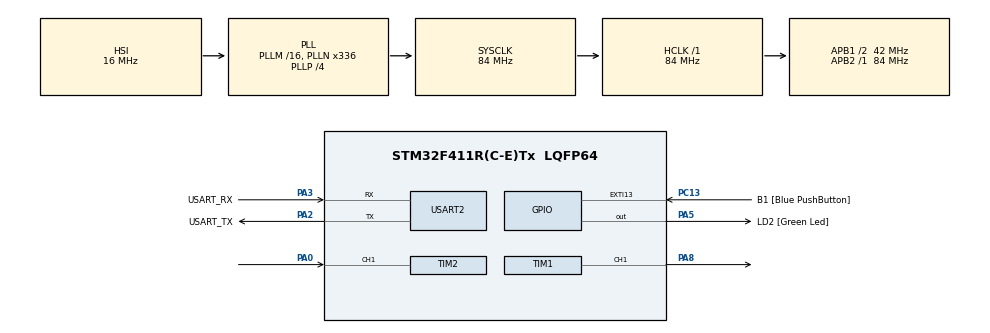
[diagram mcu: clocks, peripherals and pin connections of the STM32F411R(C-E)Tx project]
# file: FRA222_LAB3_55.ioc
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Dma.Request0=TIM2_CH1
Dma.TIM2_CH1.0.Direction=DMA_PERIPH_TO_MEMORY
Dma.TIM2_CH1.0.FIFOMode=DMA_FIFOMODE_DISABLE
Dma.TIM2_CH1.0.Instance=DMA1_Stream5
Dma.TIM2_CH1.0.MemDataAlignment=DMA_MDATAALIGN_WORD
Dma.TIM2_CH1.0.MemInc=DMA_MINC_ENABLE
Dma.TIM2_CH1.0.Mode=DMA_CIRCULAR
Dma.TIM2_CH1.0.PeriphDataAlignment=DMA_PDATAALIGN_WORD
Dma.TIM2_CH1.0.PeriphInc=DMA_PINC_DISABLE
Dma.TIM2_CH1.0.Priority=DMA_PRIORITY_LOW
Mcu.Family=STM32F4
Mcu.Name=STM32F411R(C-E)Tx
Mcu.Package=LQFP64
Mcu.UserConstants=QEI_PERIOD,64512
NVIC.DMA1_Stream5_IRQn=true\:0\:0\:false\:false\:true\:false\:true\:true
NVIC.PriorityGroup=NVIC_PRIORITYGROUP_0
PA0-WKUP.Signal=S_TIM2_CH1_ETR
PA13.GPIO_Label=TMS
PA13.Mode=Serial_Wire
PA13.Signal=SYS_JTMS-SWDIO
PA14.GPIO_Label=TCK
PA14.Mode=Serial_Wire
PA14.Signal=SYS_JTCK-SWCLK
PA2.GPIO_Label=USART_TX
PA2.Mode=Asynchronous
PA2.Signal=USART2_TX
PA3.GPIO_Label=USART_RX
PA3.Mode=Asynchronous
PA3.Signal=USART2_RX
PA5.GPIO_Label=LD2 [Green Led]
PA5.Signal=GPIO_Output
PA8.Signal=S_TIM1_CH1
PB3.GPIO_Label=SWO
PB3.Signal=SYS_JTDO-SWO
PC13-ANTI_TAMP.GPIO_Label=B1 [Blue PushButton]
PC13-ANTI_TAMP.GPIO_ModeDefaultEXTI=GPIO_MODE_IT_FALLING
PC13-ANTI_TAMP.Signal=GPXTI13
PC14-OSC32_IN.Mode=LSE-External-Oscillator
PC14-OSC32_IN.Signal=RCC_OSC32_IN
PC15-OSC32_OUT.Mode=LSE-External-Oscillator
PC15-OSC32_OUT.Signal=RCC_OSC32_OUT
PH0\ -\ OSC_IN.Mode=HSE-External-Clock-Source
PH0\ -\ OSC_IN.Signal=RCC_OSC_IN
PH1\ -\ OSC_OUT.Mode=HSE-External-Clock-Source
PH1\ -\ OSC_OUT.Signal=RCC_OSC_OUT
ProjectManager.HeapSize=0x200
ProjectManager.StackSize=0x400
ProjectManager.TargetToolchain=STM32CubeIDE
RCC.48MHZClocksFreq_Value=84000000
RCC.AHBFreq_Value=84000000
RCC.APB1CLKDivider=RCC_HCLK_DIV2
RCC.APB1Freq_Value=42000000
RCC.APB1TimFreq_Value=84000000
RCC.APB2Freq_Value=84000000
RCC.APB2TimFreq_Value=84000000
RCC.CortexFreq_Value=84000000
RCC.FLatency-AdvancedSettings=FLASH_LATENCY_2
RCC.HCLKFreq_Value=84000000
RCC.HSE_VALUE=8000000
RCC.HSI_VALUE=16000000
RCC.PLLN=336
RCC.PLLP=RCC_PLLP_DIV4
RCC.SYSCLKFreq_VALUE=84000000
RCC.SYSCLKSource=RCC_SYSCLKSOURCE_PLLCLK
RCC.VCOOutputFreq_Value=336000000
SH.S_TIM1_CH1.0=TIM1_CH1,PWM Generation1 CH1
SH.S_TIM2_CH1_ETR.0=TIM2_CH1,Input_Capture1_from_TI1
TIM1.Channel-PWM\ Generation1\ CH1=TIM_CHANNEL_1
TIM1.Period=10000
TIM1.Prescaler=83
TIM2.Channel-Input_Capture1_from_TI1=TIM_CHANNEL_1
TIM2.Prescaler=83
USART2.VirtualMode=VM_ASYNC
VP_TIM1_VS_ClockSourceINT.Mode=Internal
VP_TIM2_VS_ClockSourceINT.Mode=Internal
board=NUCLEO-F411RE

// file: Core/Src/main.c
/* USER CODE BEGIN Header */
/**
  ******************************************************************************
  * @file           : main.c
  * @brief          : Main program body
  ******************************************************************************
  * @attention
  *
  * Copyright (c) 2023 STMicroelectronics.
  * All rights reserved.
  *
  * This software is licensed under terms that can be found in the LICENSE file
  * in the root directory of this software component.
  * If no LICENSE file comes with this software, it is provided AS-IS.
  *
  ******************************************************************************
  */
#include "stdio.h"
/* USER CODE END Header */
#include "main.h"

/* USER CODE BEGIN Includes */
#define IC_BUFFER_SIZE 20

/* USER CODE END Includes */

TIM_HandleTypeDef htim1;
TIM_HandleTypeDef htim2;
DMA_HandleTypeDef hdma_tim2_ch1;

UART_HandleTypeDef huart2;

/* USER CODE BEGIN PV */

uint32_t InputCaptureBuffer[IC_BUFFER_SIZE];
float averageRisingedgePeriod;
uint32_t MotorSetDuty = 0;
float ontime;
float MotorReadRPM;
float MotorSetRPM = 0;
int MotorControlEnable = 0;
float PWMsetter = 0;

/* USER CODE END PV */

void SystemClock_Config(void);
static void MX_GPIO_Init(void);
static void MX_DMA_Init(void);
static void MX_USART2_UART_Init(void);
static void MX_TIM2_Init(void);
static void MX_TIM1_Init(void);
/* USER CODE BEGIN PFP */
float IC_Calc_Period();
/* USER CODE END PFP */

int main(void)
{

  /* MCU Configuration--------------------------------------------------------*/

  /* Reset of all peripherals, Initializes the Flash interface and the Systick. */
  HAL_Init();

  /* Configure the system clock */
  SystemClock_Config();

  /* Initialize all configured peripherals */
  MX_GPIO_Init();
  MX_DMA_Init();
  MX_USART2_UART_Init();
  MX_TIM2_Init();
  MX_TIM1_Init();
  /* USER CODE BEGIN 2 */
	HAL_TIM_Base_Start(&htim1);
	HAL_TIM_PWM_Start(&htim1, TIM_CHANNEL_1);
	HAL_TIM_Base_Start(&htim2);
	HAL_TIM_IC_Start_DMA(&htim2, TIM_CHANNEL_1, InputCaptureBuffer, IC_BUFFER_SIZE);

  /* USER CODE END 2 */

  /* Infinite loop */
  while (1)
  {

    /* USER CODE BEGIN 3 */
	  if(MotorSetRPM == 0 && MotorControlEnable == 1){
		  MotorReadRPM = 0;
		  averageRisingedgePeriod = 0;

	  }
	  if(MotorSetDuty == 0 && MotorControlEnable == 0){
		  MotorReadRPM = 0;
		  averageRisingedgePeriod = 0;

	  }
	  static uint32_t timestamp = 0;
	  	  if (HAL_GetTick()>= timestamp)
	  	  {
	  		timestamp = HAL_GetTick() + 100;
	  		averageRisingedgePeriod = IC_Calc_Period();
	  		if (MotorControlEnable == 0){
	  			if(MotorSetDuty > 100){
	  				MotorSetDuty = 100;
	  			}
	  			if(MotorSetDuty < 0){
					MotorSetDuty = 0;
				}
	  			MotorSetRPM = 0;
	  		  //the time of 1 fan arm move 30 degree
	  		  MotorReadRPM = 60.0*30.0*1000000.0/(360.0*averageRisingedgePeriod*64);
	  		  __HAL_TIM_SET_COMPARE(&htim1,TIM_CHANNEL_1,MotorSetDuty * 100);

	  		}
	  		else if (MotorControlEnable == 1){

			  //the time of 1 fan arm move 30 degree
			  MotorReadRPM = (60.0*30.0*1000000.0)/(360.0*averageRisingedgePeriod*64);

			  // RPM is lower than expect
			  if(MotorSetRPM - MotorReadRPM >= 5 && PWMsetter < 10000){
				  PWMsetter += 500;

			  }
			  else if(MotorSetRPM - MotorReadRPM >= 0.5 && MotorSetRPM - MotorReadRPM < 5 && PWMsetter < 10000){
				  PWMsetter += 50;
			  }
			  else if(MotorSetRPM - MotorReadRPM >= 0.1 && MotorSetRPM - MotorReadRPM < 0.5 && PWMsetter < 10000){
				  PWMsetter += 10;
			  }
			  // RPM is higher than expect
			  else if(MotorReadRPM - MotorSetRPM >= 5 && PWMsetter >= 0){
				  PWMsetter -= 500;

			  }
			  else if(MotorReadRPM - MotorSetRPM >= 0.5 && MotorReadRPM - MotorSetRPM < 5 && PWMsetter >= 0){
				  PWMsetter -= 50;
			  }
			  else if(MotorReadRPM - MotorSetRPM >= 0.1 && MotorReadRPM - MotorSetRPM < 0.5 && PWMsetter >= 0){
				  PWMsetter -= 10;
			  }
			  if(PWMsetter < 0){
				PWMsetter = 0;
			  	  }
			  if(PWMsetter > 10000){
				PWMsetter = 10000;
				}
			  __HAL_TIM_SET_COMPARE(&htim1,TIM_CHANNEL_1,PWMsetter);

			}

	  	  }

  }
  /* USER CODE END 3 */
}

void SystemClock_Config(void)
{
  RCC_OscInitTypeDef RCC_OscInitStruct = {0};
  RCC_ClkInitTypeDef RCC_ClkInitStruct = {0};

  /** Configure the main internal regulator output voltage
  */
  __HAL_RCC_PWR_CLK_ENABLE();
  __HAL_PWR_VOLTAGESCALING_CONFIG(PWR_REGULATOR_VOLTAGE_SCALE1);

  /** Initializes the RCC Oscillators according to the specified parameters
  * in the RCC_OscInitTypeDef structure.
  */
  RCC_OscInitStruct.OscillatorType = RCC_OSCILLATORTYPE_HSI;
  RCC_OscInitStruct.HSIState = RCC_HSI_ON;
  RCC_OscInitStruct.HSICalibrationValue = RCC_HSICALIBRATION_DEFAULT;
  RCC_OscInitStruct.PLL.PLLState = RCC_PLL_ON;
  RCC_OscInitStruct.PLL.PLLSource = RCC_PLLSOURCE_HSI;
  RCC_OscInitStruct.PLL.PLLM = 16;
  RCC_OscInitStruct.PLL.PLLN = 336;
  RCC_OscInitStruct.PLL.PLLP = RCC_PLLP_DIV4;
  RCC_OscInitStruct.PLL.PLLQ = 4;
  if (HAL_RCC_OscConfig(&RCC_OscInitStruct) != HAL_OK)
  {
    Error_Handler();
  }

  /** Initializes the CPU, AHB and APB buses clocks
  */
  RCC_ClkInitStruct.ClockType = RCC_CLOCKTYPE_HCLK|RCC_CLOCKTYPE_SYSCLK
                              |RCC_CLOCKTYPE_PCLK1|RCC_CLOCKTYPE_PCLK2;
  RCC_ClkInitStruct.SYSCLKSource = RCC_SYSCLKSOURCE_PLLCLK;
  RCC_ClkInitStruct.AHBCLKDivider = RCC_SYSCLK_DIV1;
  RCC_ClkInitStruct.APB1CLKDivider = RCC_HCLK_DIV2;
  RCC_ClkInitStruct.APB2CLKDivider = RCC_HCLK_DIV1;

  if (HAL_RCC_ClockConfig(&RCC_ClkInitStruct, FLASH_LATENCY_2) != HAL_OK)
  {
    Error_Handler();
  }
}

static void MX_TIM1_Init(void)
{

  TIM_ClockConfigTypeDef sClockSourceConfig = {0};
  TIM_MasterConfigTypeDef sMasterConfig = {0};
  TIM_OC_InitTypeDef sConfigOC = {0};
  TIM_BreakDeadTimeConfigTypeDef sBreakDeadTimeConfig = {0};

  htim1.Instance = TIM1;
  htim1.Init.Prescaler = 83;
  htim1.Init.CounterMode = TIM_COUNTERMODE_UP;
  htim1.Init.Period = 10000;
  htim1.Init.ClockDivision = TIM_CLOCKDIVISION_DIV1;
  htim1.Init.RepetitionCounter = 0;
  htim1.Init.AutoReloadPreload = TIM_AUTORELOAD_PRELOAD_DISABLE;
  if (HAL_TIM_Base_Init(&htim1) != HAL_OK)
  {
    Error_Handler();
  }
  sClockSourceConfig.ClockSource = TIM_CLOCKSOURCE_INTERNAL;
  if (HAL_TIM_ConfigClockSource(&htim1, &sClockSourceConfig) != HAL_OK)
  {
    Error_Handler();
  }
  if (HAL_TIM_PWM_Init(&htim1) != HAL_OK)
  {
    Error_Handler();
  }
  sMasterConfig.MasterOutputTrigger = TIM_TRGO_RESET;
  sMasterConfig.MasterSlaveMode = TIM_MASTERSLAVEMODE_DISABLE;
  if (HAL_TIMEx_MasterConfigSynchronization(&htim1, &sMasterConfig) != HAL_OK)
  {
    Error_Handler();
  }
  sConfigOC.OCMode = TIM_OCMODE_PWM1;
  sConfigOC.Pulse = 0;
  sConfigOC.OCPolarity = TIM_OCPOLARITY_HIGH;
  sConfigOC.OCNPolarity = TIM_OCNPOLARITY_HIGH;
  sConfigOC.OCFastMode = TIM_OCFAST_DISABLE;
  sConfigOC.OCIdleState = TIM_OCIDLESTATE_RESET;
  sConfigOC.OCNIdleState = TIM_OCNIDLESTATE_RESET;
  if (HAL_TIM_PWM_ConfigChannel(&htim1, &sConfigOC, TIM_CHANNEL_1) != HAL_OK)
  {
    Error_Handler();
  }
  sBreakDeadTimeConfig.OffStateRunMode = TIM_OSSR_DISABLE;
  sBreakDeadTimeConfig.OffStateIDLEMode = TIM_OSSI_DISABLE;
  sBreakDeadTimeConfig.LockLevel = TIM_LOCKLEVEL_OFF;
  sBreakDeadTimeConfig.DeadTime = 0;
  sBreakDeadTimeConfig.BreakState = TIM_BREAK_DISABLE;
  sBreakDeadTimeConfig.BreakPolarity = TIM_BREAKPOLARITY_HIGH;
  sBreakDeadTimeConfig.AutomaticOutput = TIM_AUTOMATICOUTPUT_DISABLE;
  if (HAL_TIMEx_ConfigBreakDeadTime(&htim1, &sBreakDeadTimeConfig) != HAL_OK)
  {
    Error_Handler();
  }
  HAL_TIM_MspPostInit(&htim1);

}

static void MX_TIM2_Init(void)
{

  TIM_ClockConfigTypeDef sClockSourceConfig = {0};
  TIM_MasterConfigTypeDef sMasterConfig = {0};
  TIM_IC_InitTypeDef sConfigIC = {0};

  htim2.Instance = TIM2;
  htim2.Init.Prescaler = 83;
  htim2.Init.CounterMode = TIM_COUNTERMODE_UP;
  htim2.Init.Period = 4294967295;
  htim2.Init.ClockDivision = TIM_CLOCKDIVISION_DIV1;
  htim2.Init.AutoReloadPreload = TIM_AUTORELOAD_PRELOAD_DISABLE;
  if (HAL_TIM_Base_Init(&htim2) != HAL_OK)
  {
    Error_Handler();
  }
  sClockSourceConfig.ClockSource = TIM_CLOCKSOURCE_INTERNAL;
  if (HAL_TIM_ConfigClockSource(&htim2, &sClockSourceConfig) != HAL_OK)
  {
    Error_Handler();
  }
  if (HAL_TIM_IC_Init(&htim2) != HAL_OK)
  {
    Error_Handler();
  }
  sMasterConfig.MasterOutputTrigger = TIM_TRGO_RESET;
  sMasterConfig.MasterSlaveMode = TIM_MASTERSLAVEMODE_DISABLE;
  if (HAL_TIMEx_MasterConfigSynchronization(&htim2, &sMasterConfig) != HAL_OK)
  {
    Error_Handler();
  }
  sConfigIC.ICPolarity = TIM_INPUTCHANNELPOLARITY_RISING;
  sConfigIC.ICSelection = TIM_ICSELECTION_DIRECTTI;
  sConfigIC.ICPrescaler = TIM_ICPSC_DIV1;
  sConfigIC.ICFilter = 0;
  if (HAL_TIM_IC_ConfigChannel(&htim2, &sConfigIC, TIM_CHANNEL_1) != HAL_OK)
  {
    Error_Handler();
  }

}

static void MX_USART2_UART_Init(void)
{

  huart2.Instance = USART2;
  huart2.Init.BaudRate = 115200;
  huart2.Init.WordLength = UART_WORDLENGTH_8B;
  huart2.Init.StopBits = UART_STOPBITS_1;
  huart2.Init.Parity = UART_PARITY_NONE;
  huart2.Init.Mode = UART_MODE_TX_RX;
  huart2.Init.HwFlowCtl = UART_HWCONTROL_NONE;
  huart2.Init.OverSampling = UART_OVERSAMPLING_16;
  if (HAL_UART_Init(&huart2) != HAL_OK)
  {
    Error_Handler();
  }

}

static void MX_DMA_Init(void)
{

  /* DMA controller clock enable */
  __HAL_RCC_DMA1_CLK_ENABLE();

  /* DMA interrupt init */
  /* DMA1_Stream5_IRQn interrupt configuration */
  HAL_NVIC_SetPriority(DMA1_Stream5_IRQn, 0, 0);
  HAL_NVIC_EnableIRQ(DMA1_Stream5_IRQn);

}

static void MX_GPIO_Init(void)
{
  GPIO_InitTypeDef GPIO_InitStruct = {0};

  /* GPIO Ports Clock Enable */
  __HAL_RCC_GPIOC_CLK_ENABLE();
  __HAL_RCC_GPIOH_CLK_ENABLE();
  __HAL_RCC_GPIOA_CLK_ENABLE();
  __HAL_RCC_GPIOB_CLK_ENABLE();

  /*Configure GPIO pin Output Level */
  HAL_GPIO_WritePin(LD2_GPIO_Port, LD2_Pin, GPIO_PIN_RESET);

  /*Configure GPIO pin : B1_Pin */
  GPIO_InitStruct.Pin = B1_Pin;
  GPIO_InitStruct.Mode = GPIO_MODE_IT_FALLING;
  GPIO_InitStruct.Pull = GPIO_NOPULL;
  HAL_GPIO_Init(B1_GPIO_Port, &GPIO_InitStruct);

  /*Configure GPIO pin : LD2_Pin */
  GPIO_InitStruct.Pin = LD2_Pin;
  GPIO_InitStruct.Mode = GPIO_MODE_OUTPUT_PP;
  GPIO_InitStruct.Pull = GPIO_NOPULL;
  GPIO_InitStruct.Speed = GPIO_SPEED_FREQ_LOW;
  HAL_GPIO_Init(LD2_GPIO_Port, &GPIO_InitStruct);

}

/* USER CODE BEGIN 4 */
float IC_Calc_Period()
{
	uint32_t currentDMAPointer = IC_BUFFER_SIZE - __HAL_DMA_GET_COUNTER((htim2.hdma[1]));
	uint32_t lastValidDMAPointer = (currentDMAPointer-1+IC_BUFFER_SIZE) % IC_BUFFER_SIZE;
	uint32_t i = (lastValidDMAPointer + IC_BUFFER_SIZE - 5) % IC_BUFFER_SIZE;
	int32_t sumdiff =0;

	while (i != lastValidDMAPointer)
	{

		uint32_t firstCapture = InputCaptureBuffer[i];
		uint32_t NextCapture = InputCaptureBuffer[(i+1)%IC_BUFFER_SIZE];
		sumdiff += NextCapture - firstCapture;
		i = (i+1)%IC_BUFFER_SIZE;
	}
	return sumdiff / 5.0;
}

/* USER CODE END 4 */

void Error_Handler(void)
{
  __disable_irq();
  while (1)
  {
  }
}
